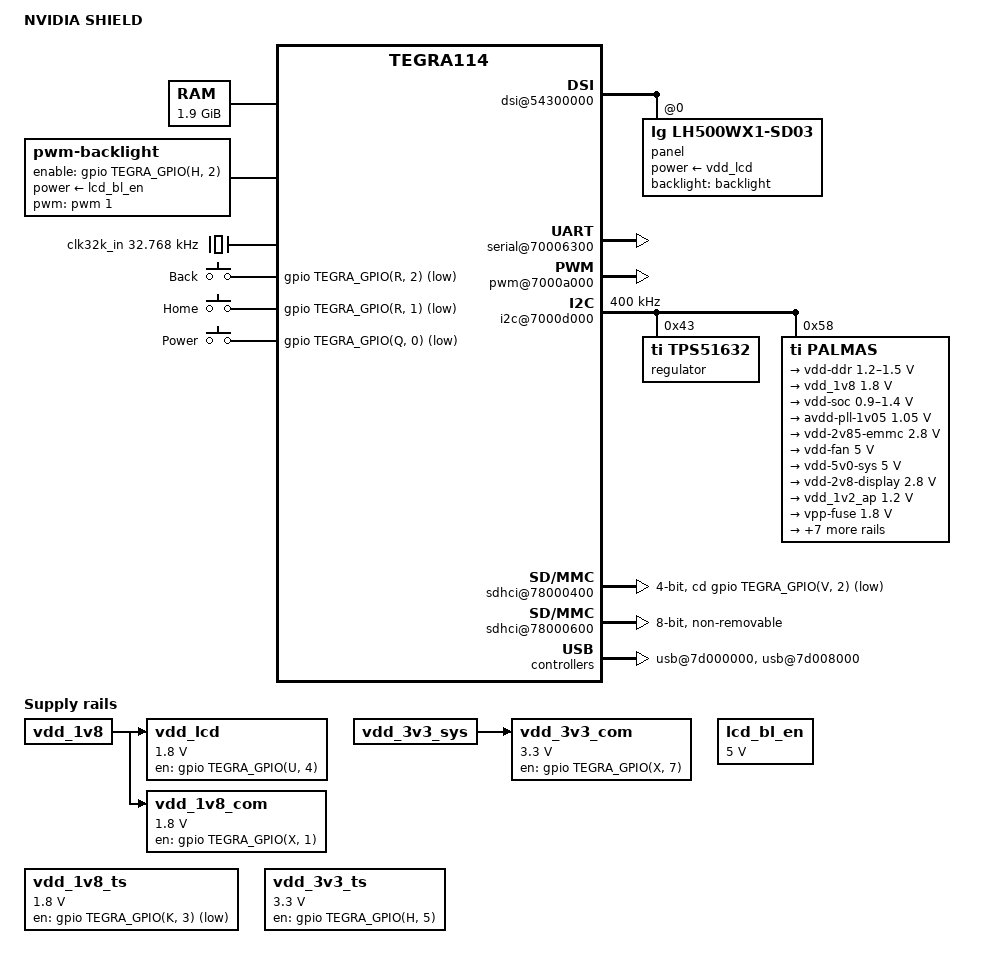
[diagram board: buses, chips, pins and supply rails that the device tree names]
/dts-v1/;

#include <dt-bindings/input/input.h>
#include "tegra114.dtsi"

/ {
	model = "NVIDIA SHIELD";
	compatible = "nvidia,roth", "nvidia,tegra114";

	chosen {
		/* SHIELD's bootloader's arguments need to be overridden */
		bootargs = "console=ttyS0,115200n8 console=tty1 gpt fbcon=rotate:1";
		/* SHIELD's bootloader will place initrd at this address */
		linux,initrd-start = <0x82000000>;
		linux,initrd-end = <0x82800000>;
	};

	aliases {
		serial0 = &uartd;
	};

	firmware {
		trusted-foundations {
			compatible = "tlm,trusted-foundations";
			tlm,version-major = <2>;
			tlm,version-minor = <8>;
		};
	};

	memory {
		/* memory >= 0x79600000 is reserved for firmware usage */
		reg = <0x80000000 0x79600000>;
	};

	host1x@50000000 {
		dsi@54300000 {
			status = "okay";

			vdd-supply = <&vdd_1v2_ap>;

			panel@0 {
				compatible = "lg,lh500wx1-sd03";
				reg = <0>;

				power-supply = <&vdd_lcd>;
				backlight = <&backlight>;
			};
		};
	};

	pinmux@70000868 {
		pinctrl-names = "default";
		pinctrl-0 = <&state_default>;

		state_default: pinmux {
			clk1_out_pw4 {
				nvidia,pins = "clk1_out_pw4";
				nvidia,function = "extperiph1";
				nvidia,pull = <TEGRA_PIN_PULL_NONE>;
				nvidia,tristate = <TEGRA_PIN_DISABLE>;
				nvidia,enable-input = <TEGRA_PIN_DISABLE>;
			};
			dap1_din_pn1 {
				nvidia,pins = "dap1_din_pn1";
				nvidia,function = "i2s0";
				nvidia,pull = <TEGRA_PIN_PULL_NONE>;
				nvidia,tristate = <TEGRA_PIN_ENABLE>;
				nvidia,enable-input = <TEGRA_PIN_ENABLE>;
			};
			dap1_dout_pn2 {
				nvidia,pins = "dap1_dout_pn2",
						"dap1_fs_pn0",
						"dap1_sclk_pn3";
				nvidia,function = "i2s0";
				nvidia,pull = <TEGRA_PIN_PULL_NONE>;
				nvidia,tristate = <TEGRA_PIN_DISABLE>;
				nvidia,enable-input = <TEGRA_PIN_ENABLE>;
			};
			dap2_din_pa4 {
				nvidia,pins = "dap2_din_pa4";
				nvidia,function = "i2s1";
				nvidia,pull = <TEGRA_PIN_PULL_NONE>;
				nvidia,tristate = <TEGRA_PIN_ENABLE>;
				nvidia,enable-input = <TEGRA_PIN_ENABLE>;
			};
			dap2_dout_pa5 {
				nvidia,pins = "dap2_dout_pa5",
						"dap2_fs_pa2",
						"dap2_sclk_pa3";
				nvidia,function = "i2s1";
				nvidia,pull = <TEGRA_PIN_PULL_NONE>;
				nvidia,tristate = <TEGRA_PIN_DISABLE>;
				nvidia,enable-input = <TEGRA_PIN_ENABLE>;
			};
			dap4_din_pp5 {
				nvidia,pins = "dap4_din_pp5",
						"dap4_dout_pp6",
						"dap4_fs_pp4",
						"dap4_sclk_pp7";
				nvidia,function = "i2s3";
				nvidia,pull = <TEGRA_PIN_PULL_NONE>;
				nvidia,tristate = <TEGRA_PIN_DISABLE>;
				nvidia,enable-input = <TEGRA_PIN_ENABLE>;
			};
			dvfs_pwm_px0 {
				nvidia,pins = "dvfs_pwm_px0",
						"dvfs_clk_px2";
				nvidia,function = "cldvfs";
				nvidia,pull = <TEGRA_PIN_PULL_NONE>;
				nvidia,tristate = <TEGRA_PIN_DISABLE>;
				nvidia,enable-input = <TEGRA_PIN_DISABLE>;
			};
			ulpi_clk_py0 {
				nvidia,pins = "ulpi_clk_py0",
						"ulpi_data0_po1",
						"ulpi_data1_po2",
						"ulpi_data2_po3",
						"ulpi_data3_po4",
						"ulpi_data4_po5",
						"ulpi_data5_po6",
						"ulpi_data6_po7",
						"ulpi_data7_po0";
				nvidia,function = "ulpi";
				nvidia,pull = <TEGRA_PIN_PULL_NONE>;
				nvidia,tristate = <TEGRA_PIN_DISABLE>;
				nvidia,enable-input = <TEGRA_PIN_ENABLE>;
			};
			ulpi_dir_py1 {
				nvidia,pins = "ulpi_dir_py1",
						"ulpi_nxt_py2";
				nvidia,function = "ulpi";
				nvidia,pull = <TEGRA_PIN_PULL_NONE>;
				nvidia,tristate = <TEGRA_PIN_ENABLE>;
				nvidia,enable-input = <TEGRA_PIN_ENABLE>;
			};
			ulpi_stp_py3 {
				nvidia,pins = "ulpi_stp_py3";
				nvidia,function = "ulpi";
				nvidia,pull = <TEGRA_PIN_PULL_NONE>;
				nvidia,tristate = <TEGRA_PIN_DISABLE>;
				nvidia,enable-input = <TEGRA_PIN_DISABLE>;
			};
			cam_i2c_scl_pbb1 {
				nvidia,pins = "cam_i2c_scl_pbb1",
						"cam_i2c_sda_pbb2";
				nvidia,function = "i2c3";
				nvidia,pull = <TEGRA_PIN_PULL_NONE>;
				nvidia,tristate = <TEGRA_PIN_DISABLE>;
				nvidia,enable-input = <TEGRA_PIN_ENABLE>;
				nvidia,lock = <TEGRA_PIN_DISABLE>;
				nvidia,open-drain = <TEGRA_PIN_DISABLE>;
			};
			cam_mclk_pcc0 {
				nvidia,pins = "cam_mclk_pcc0",
						"pbb0";
				nvidia,function = "vi_alt3";
				nvidia,pull = <TEGRA_PIN_PULL_NONE>;
				nvidia,tristate = <TEGRA_PIN_DISABLE>;
				nvidia,enable-input = <TEGRA_PIN_DISABLE>;
				nvidia,lock = <TEGRA_PIN_DISABLE>;
			};
			pbb4 {
				nvidia,pins = "pbb4";
				nvidia,function = "vgp4";
				nvidia,pull = <TEGRA_PIN_PULL_NONE>;
				nvidia,tristate = <TEGRA_PIN_DISABLE>;
				nvidia,enable-input = <TEGRA_PIN_DISABLE>;
				nvidia,lock = <TEGRA_PIN_DISABLE>;
			};
			gen2_i2c_scl_pt5 {
				nvidia,pins = "gen2_i2c_scl_pt5",
						"gen2_i2c_sda_pt6";
				nvidia,function = "i2c2";
				nvidia,pull = <TEGRA_PIN_PULL_NONE>;
				nvidia,tristate = <TEGRA_PIN_DISABLE>;
				nvidia,enable-input = <TEGRA_PIN_ENABLE>;
				nvidia,lock = <TEGRA_PIN_DISABLE>;
				nvidia,open-drain = <TEGRA_PIN_DISABLE>;
			};
			gmi_a16_pj7 {
				nvidia,pins = "gmi_a16_pj7",
						"gmi_a19_pk7";
				nvidia,function = "uartd";
				nvidia,pull = <TEGRA_PIN_PULL_NONE>;
				nvidia,tristate = <TEGRA_PIN_DISABLE>;
				nvidia,enable-input = <TEGRA_PIN_DISABLE>;
			};
			gmi_a17_pb0 {
				nvidia,pins = "gmi_a17_pb0",
						"gmi_a18_pb1";
				nvidia,function = "uartd";
				nvidia,pull = <TEGRA_PIN_PULL_NONE>;
				nvidia,tristate = <TEGRA_PIN_ENABLE>;
				nvidia,enable-input = <TEGRA_PIN_ENABLE>;
			};
			gmi_ad5_pg5 {
				nvidia,pins = "gmi_ad5_pg5",
						"gmi_wr_n_pi0";
				nvidia,function = "spi4";
				nvidia,pull = <TEGRA_PIN_PULL_NONE>;
				nvidia,tristate = <TEGRA_PIN_DISABLE>;
				nvidia,enable-input = <TEGRA_PIN_ENABLE>;
			};
			gmi_ad6_pg6 {
				nvidia,pins = "gmi_ad6_pg6",
						"gmi_ad7_pg7";
				nvidia,function = "spi4";
				nvidia,pull = <TEGRA_PIN_PULL_UP>;
				nvidia,tristate = <TEGRA_PIN_DISABLE>;
				nvidia,enable-input = <TEGRA_PIN_ENABLE>;
			};
			gmi_ad12_ph4 {
				nvidia,pins = "gmi_ad12_ph4";
				nvidia,function = "rsvd4";
				nvidia,pull = <TEGRA_PIN_PULL_NONE>;
				nvidia,tristate = <TEGRA_PIN_DISABLE>;
				nvidia,enable-input = <TEGRA_PIN_DISABLE>;
			};
			gmi_cs6_n_pi13 {
				nvidia,pins = "gmi_cs6_n_pi3";
				nvidia,function = "nand";
				nvidia,pull = <TEGRA_PIN_PULL_NONE>;
				nvidia,tristate = <TEGRA_PIN_ENABLE>;
				nvidia,enable-input = <TEGRA_PIN_DISABLE>;
			};
			gmi_ad9_ph1 {
				nvidia,pins = "gmi_ad9_ph1";
				nvidia,function = "pwm1";
				nvidia,pull = <TEGRA_PIN_PULL_NONE>;
				nvidia,tristate = <TEGRA_PIN_DISABLE>;
				nvidia,enable-input = <TEGRA_PIN_DISABLE>;
			};
			gmi_cs1_n_pj2 {
				nvidia,pins = "gmi_cs1_n_pj2",
						"gmi_oe_n_pi1";
				nvidia,function = "soc";
				nvidia,pull = <TEGRA_PIN_PULL_NONE>;
				nvidia,tristate = <TEGRA_PIN_ENABLE>;
				nvidia,enable-input = <TEGRA_PIN_ENABLE>;
			};
			gmi_rst_n_pi4 {
				nvidia,pins = "gmi_rst_n_pi4";
				nvidia,function = "gmi";
				nvidia,pull = <TEGRA_PIN_PULL_UP>;
				nvidia,tristate = <TEGRA_PIN_DISABLE>;
				nvidia,enable-input = <TEGRA_PIN_ENABLE>;
			};
			gmi_iordy_pi5 {
				nvidia,pins = "gmi_iordy_pi5";
				nvidia,function = "gmi";
				nvidia,pull = <TEGRA_PIN_PULL_NONE>;
				nvidia,tristate = <TEGRA_PIN_ENABLE>;
				nvidia,enable-input = <TEGRA_PIN_ENABLE>;
			};
			clk2_out_pw5 {
				nvidia,pins = "clk2_out_pw5";
				nvidia,function = "extperiph2";
				nvidia,pull = <TEGRA_PIN_PULL_NONE>;
				nvidia,tristate = <TEGRA_PIN_DISABLE>;
				nvidia,enable-input = <TEGRA_PIN_ENABLE>;
			};
			sdmmc1_clk_pz0 {
				nvidia,pins = "sdmmc1_clk_pz0";
				nvidia,function = "sdmmc1";
				nvidia,pull = <TEGRA_PIN_PULL_NONE>;
				nvidia,tristate = <TEGRA_PIN_DISABLE>;
				nvidia,enable-input = <TEGRA_PIN_ENABLE>;
			};
			sdmmc1_cmd_pz1 {
				nvidia,pins = "sdmmc1_cmd_pz1",
						"sdmmc1_dat0_py7",
						"sdmmc1_dat1_py6",
						"sdmmc1_dat2_py5",
						"sdmmc1_dat3_py4";
				nvidia,function = "sdmmc1";
				nvidia,pull = <TEGRA_PIN_PULL_UP>;
				nvidia,tristate = <TEGRA_PIN_DISABLE>;
				nvidia,enable-input = <TEGRA_PIN_ENABLE>;
			};
			sdmmc3_clk_pa6 {
				nvidia,pins = "sdmmc3_clk_pa6";
				nvidia,function = "sdmmc3";
				nvidia,pull = <TEGRA_PIN_PULL_NONE>;
				nvidia,tristate = <TEGRA_PIN_DISABLE>;
				nvidia,enable-input = <TEGRA_PIN_ENABLE>;
			};
			sdmmc3_cmd_pa7 {
				nvidia,pins = "sdmmc3_cmd_pa7",
						"sdmmc3_dat0_pb7",
						"sdmmc3_dat1_pb6",
						"sdmmc3_dat2_pb5",
						"sdmmc3_dat3_pb4",
						"sdmmc3_cd_n_pv2",
						"sdmmc3_clk_lb_out_pee4",
						"sdmmc3_clk_lb_in_pee5";
				nvidia,function = "sdmmc3";
				nvidia,pull = <TEGRA_PIN_PULL_UP>;
				nvidia,tristate = <TEGRA_PIN_DISABLE>;
				nvidia,enable-input = <TEGRA_PIN_ENABLE>;
			};
			kb_col4_pq4 {
				nvidia,pins = "kb_col4_pq4";
				nvidia,function = "sdmmc3";
				nvidia,pull = <TEGRA_PIN_PULL_DOWN>;
				nvidia,tristate = <TEGRA_PIN_ENABLE>;
				nvidia,enable-input = <TEGRA_PIN_ENABLE>;
			};
			sdmmc4_clk_pcc4 {
				nvidia,pins = "sdmmc4_clk_pcc4";
				nvidia,function = "sdmmc4";
				nvidia,pull = <TEGRA_PIN_PULL_NONE>;
				nvidia,tristate = <TEGRA_PIN_DISABLE>;
				nvidia,enable-input = <TEGRA_PIN_ENABLE>;
			};
			sdmmc4_cmd_pt7 {
				nvidia,pins = "sdmmc4_cmd_pt7",
						"sdmmc4_dat0_paa0",
						"sdmmc4_dat1_paa1",
						"sdmmc4_dat2_paa2",
						"sdmmc4_dat3_paa3",
						"sdmmc4_dat4_paa4",
						"sdmmc4_dat5_paa5",
						"sdmmc4_dat6_paa6",
						"sdmmc4_dat7_paa7";
				nvidia,function = "sdmmc4";
				nvidia,pull = <TEGRA_PIN_PULL_UP>;
				nvidia,tristate = <TEGRA_PIN_DISABLE>;
				nvidia,enable-input = <TEGRA_PIN_ENABLE>;
			};
			clk_32k_out_pa0 {
				nvidia,pins = "clk_32k_out_pa0";
				nvidia,function = "blink";
				nvidia,pull = <TEGRA_PIN_PULL_NONE>;
				nvidia,tristate = <TEGRA_PIN_DISABLE>;
				nvidia,enable-input = <TEGRA_PIN_DISABLE>;
			};
			kb_col0_pq0 {
				nvidia,pins = "kb_col0_pq0",
						"kb_col1_pq1",
						"kb_col2_pq2",
						"kb_row0_pr0",
						"kb_row1_pr1",
						"kb_row2_pr2",
						"kb_row8_ps0";
				nvidia,function = "kbc";
				nvidia,pull = <TEGRA_PIN_PULL_UP>;
				nvidia,tristate = <TEGRA_PIN_DISABLE>;
				nvidia,enable-input = <TEGRA_PIN_ENABLE>;
			};
			kb_row7_pr7 {
				nvidia,pins = "kb_row7_pr7";
				nvidia,function = "rsvd2";
				nvidia,pull = <TEGRA_PIN_PULL_UP>;
				nvidia,tristate = <TEGRA_PIN_DISABLE>;
				nvidia,enable-input = <TEGRA_PIN_ENABLE>;
			};
			kb_row10_ps2 {
				nvidia,pins = "kb_row10_ps2";
				nvidia,function = "uarta";
				nvidia,pull = <TEGRA_PIN_PULL_NONE>;
				nvidia,tristate = <TEGRA_PIN_ENABLE>;
				nvidia,enable-input = <TEGRA_PIN_ENABLE>;
			};
			kb_row9_ps1 {
				nvidia,pins = "kb_row9_ps1";
				nvidia,function = "uarta";
				nvidia,pull = <TEGRA_PIN_PULL_NONE>;
				nvidia,tristate = <TEGRA_PIN_DISABLE>;
				nvidia,enable-input = <TEGRA_PIN_DISABLE>;
			};
			pwr_i2c_scl_pz6 {
				nvidia,pins = "pwr_i2c_scl_pz6",
						"pwr_i2c_sda_pz7";
				nvidia,function = "i2cpwr";
				nvidia,pull = <TEGRA_PIN_PULL_NONE>;
				nvidia,tristate = <TEGRA_PIN_DISABLE>;
				nvidia,enable-input = <TEGRA_PIN_ENABLE>;
				nvidia,lock = <TEGRA_PIN_DISABLE>;
				nvidia,open-drain = <TEGRA_PIN_DISABLE>;
			};
			sys_clk_req_pz5 {
				nvidia,pins = "sys_clk_req_pz5";
				nvidia,function = "sysclk";
				nvidia,pull = <TEGRA_PIN_PULL_NONE>;
				nvidia,tristate = <TEGRA_PIN_DISABLE>;
				nvidia,enable-input = <TEGRA_PIN_DISABLE>;
			};
			core_pwr_req {
				nvidia,pins = "core_pwr_req";
				nvidia,function = "pwron";
				nvidia,pull = <TEGRA_PIN_PULL_NONE>;
				nvidia,tristate = <TEGRA_PIN_DISABLE>;
				nvidia,enable-input = <TEGRA_PIN_DISABLE>;
			};
			cpu_pwr_req {
				nvidia,pins = "cpu_pwr_req";
				nvidia,function = "cpu";
				nvidia,pull = <TEGRA_PIN_PULL_NONE>;
				nvidia,tristate = <TEGRA_PIN_DISABLE>;
				nvidia,enable-input = <TEGRA_PIN_DISABLE>;
			};
			pwr_int_n {
				nvidia,pins = "pwr_int_n";
				nvidia,function = "pmi";
				nvidia,pull = <TEGRA_PIN_PULL_NONE>;
				nvidia,tristate = <TEGRA_PIN_ENABLE>;
				nvidia,enable-input = <TEGRA_PIN_ENABLE>;
			};
			reset_out_n {
				nvidia,pins = "reset_out_n";
				nvidia,function = "reset_out_n";
				nvidia,pull = <TEGRA_PIN_PULL_NONE>;
				nvidia,tristate = <TEGRA_PIN_DISABLE>;
				nvidia,enable-input = <TEGRA_PIN_DISABLE>;
			};
			clk3_out_pee0 {
				nvidia,pins = "clk3_out_pee0";
				nvidia,function = "extperiph3";
				nvidia,pull = <TEGRA_PIN_PULL_NONE>;
				nvidia,tristate = <TEGRA_PIN_DISABLE>;
				nvidia,enable-input = <TEGRA_PIN_DISABLE>;
			};
			gen1_i2c_scl_pc4 {
				nvidia,pins = "gen1_i2c_scl_pc4",
						"gen1_i2c_sda_pc5";
				nvidia,function = "i2c1";
				nvidia,pull = <TEGRA_PIN_PULL_NONE>;
				nvidia,tristate = <TEGRA_PIN_DISABLE>;
				nvidia,enable-input = <TEGRA_PIN_ENABLE>;
				nvidia,lock = <TEGRA_PIN_DISABLE>;
				nvidia,open-drain = <TEGRA_PIN_DISABLE>;
			};
			uart2_cts_n_pj5 {
				nvidia,pins = "uart2_cts_n_pj5";
				nvidia,function = "uartb";
				nvidia,pull = <TEGRA_PIN_PULL_NONE>;
				nvidia,tristate = <TEGRA_PIN_ENABLE>;
				nvidia,enable-input = <TEGRA_PIN_ENABLE>;
			};
			uart2_rts_n_pj6 {
				nvidia,pins = "uart2_rts_n_pj6";
				nvidia,function = "uartb";
				nvidia,pull = <TEGRA_PIN_PULL_NONE>;
				nvidia,tristate = <TEGRA_PIN_DISABLE>;
				nvidia,enable-input = <TEGRA_PIN_DISABLE>;
			};
			uart2_rxd_pc3 {
				nvidia,pins = "uart2_rxd_pc3";
				nvidia,function = "irda";
				nvidia,pull = <TEGRA_PIN_PULL_NONE>;
				nvidia,tristate = <TEGRA_PIN_ENABLE>;
				nvidia,enable-input = <TEGRA_PIN_ENABLE>;
			};
			uart2_txd_pc2 {
				nvidia,pins = "uart2_txd_pc2";
				nvidia,function = "irda";
				nvidia,pull = <TEGRA_PIN_PULL_NONE>;
				nvidia,tristate = <TEGRA_PIN_DISABLE>;
				nvidia,enable-input = <TEGRA_PIN_DISABLE>;
			};
			uart3_cts_n_pa1 {
				nvidia,pins = "uart3_cts_n_pa1",
						"uart3_rxd_pw7";
				nvidia,function = "uartc";
				nvidia,pull = <TEGRA_PIN_PULL_NONE>;
				nvidia,tristate = <TEGRA_PIN_ENABLE>;
				nvidia,enable-input = <TEGRA_PIN_ENABLE>;
			};
			uart3_rts_n_pc0 {
				nvidia,pins = "uart3_rts_n_pc0",
						"uart3_txd_pw6";
				nvidia,function = "uartc";
				nvidia,pull = <TEGRA_PIN_PULL_NONE>;
				nvidia,tristate = <TEGRA_PIN_DISABLE>;
				nvidia,enable-input = <TEGRA_PIN_DISABLE>;
			};
			owr {
				nvidia,pins = "owr";
				nvidia,function = "owr";
				nvidia,pull = <TEGRA_PIN_PULL_NONE>;
				nvidia,tristate = <TEGRA_PIN_DISABLE>;
				nvidia,enable-input = <TEGRA_PIN_ENABLE>;
			};
			hdmi_cec_pee3 {
				nvidia,pins = "hdmi_cec_pee3";
				nvidia,function = "cec";
				nvidia,pull = <TEGRA_PIN_PULL_NONE>;
				nvidia,tristate = <TEGRA_PIN_DISABLE>;
				nvidia,enable-input = <TEGRA_PIN_ENABLE>;
				nvidia,lock = <TEGRA_PIN_DISABLE>;
				nvidia,open-drain = <TEGRA_PIN_DISABLE>;
			};
			ddc_scl_pv4 {
				nvidia,pins = "ddc_scl_pv4",
						"ddc_sda_pv5";
				nvidia,function = "i2c4";
				nvidia,pull = <TEGRA_PIN_PULL_NONE>;
				nvidia,tristate = <TEGRA_PIN_DISABLE>;
				nvidia,enable-input = <TEGRA_PIN_ENABLE>;
				nvidia,lock = <TEGRA_PIN_DISABLE>;
				nvidia,rcv-sel = <TEGRA_PIN_ENABLE>;
			};
			spdif_in_pk6 {
				nvidia,pins = "spdif_in_pk6";
				nvidia,function = "usb";
				nvidia,pull = <TEGRA_PIN_PULL_UP>;
				nvidia,tristate = <TEGRA_PIN_DISABLE>;
				nvidia,enable-input = <TEGRA_PIN_ENABLE>;
				nvidia,lock = <TEGRA_PIN_DISABLE>;
			};
			usb_vbus_en0_pn4 {
				nvidia,pins = "usb_vbus_en0_pn4";
				nvidia,function = "usb";
				nvidia,pull = <TEGRA_PIN_PULL_UP>;
				nvidia,tristate = <TEGRA_PIN_DISABLE>;
				nvidia,enable-input = <TEGRA_PIN_ENABLE>;
				nvidia,lock = <TEGRA_PIN_DISABLE>;
				nvidia,open-drain = <TEGRA_PIN_ENABLE>;
			};
			gpio_x6_aud_px6 {
				nvidia,pins = "gpio_x6_aud_px6";
				nvidia,function = "spi6";
				nvidia,pull = <TEGRA_PIN_PULL_UP>;
				nvidia,tristate = <TEGRA_PIN_ENABLE>;
				nvidia,enable-input = <TEGRA_PIN_ENABLE>;
			};
			gpio_x1_aud_px1 {
				nvidia,pins = "gpio_x1_aud_px1";
				nvidia,function = "rsvd2";
				nvidia,pull = <TEGRA_PIN_PULL_DOWN>;
				nvidia,tristate = <TEGRA_PIN_DISABLE>;
				nvidia,enable-input = <TEGRA_PIN_ENABLE>;
			};
			gpio_x7_aud_px7 {
				nvidia,pins = "gpio_x7_aud_px7";
				nvidia,function = "rsvd1";
				nvidia,pull = <TEGRA_PIN_PULL_DOWN>;
				nvidia,tristate = <TEGRA_PIN_DISABLE>;
				nvidia,enable-input = <TEGRA_PIN_ENABLE>;
			};
			gmi_adv_n_pk0 {
				nvidia,pins = "gmi_adv_n_pk0";
				nvidia,function = "gmi";
				nvidia,pull = <TEGRA_PIN_PULL_NONE>;
				nvidia,tristate = <TEGRA_PIN_ENABLE>;
				nvidia,enable-input = <TEGRA_PIN_ENABLE>;
			};
			gmi_cs0_n_pj0 {
				nvidia,pins = "gmi_cs0_n_pj0";
				nvidia,function = "gmi";
				nvidia,pull = <TEGRA_PIN_PULL_UP>;
				nvidia,tristate = <TEGRA_PIN_DISABLE>;
				nvidia,enable-input = <TEGRA_PIN_ENABLE>;
			};
			pu3 {
				nvidia,pins = "pu3";
				nvidia,function = "pwm0";
				nvidia,pull = <TEGRA_PIN_PULL_NONE>;
				nvidia,tristate = <TEGRA_PIN_DISABLE>;
				nvidia,enable-input = <TEGRA_PIN_DISABLE>;
			};
			gpio_x4_aud_px4 {
				nvidia,pins = "gpio_x4_aud_px4",
						"gpio_x5_aud_px5";
				nvidia,function = "rsvd1";
				nvidia,pull = <TEGRA_PIN_PULL_UP>;
				nvidia,tristate = <TEGRA_PIN_DISABLE>;
				nvidia,enable-input = <TEGRA_PIN_ENABLE>;
			};
			gpio_x3_aud_px3 {
				nvidia,pins = "gpio_x3_aud_px3";
				nvidia,function = "rsvd4";
				nvidia,pull = <TEGRA_PIN_PULL_UP>;
				nvidia,tristate = <TEGRA_PIN_DISABLE>;
				nvidia,enable-input = <TEGRA_PIN_ENABLE>;
			};
			gpio_w2_aud_pw2 {
				nvidia,pins = "gpio_w2_aud_pw2";
				nvidia,function = "rsvd2";
				nvidia,pull = <TEGRA_PIN_PULL_UP>;
				nvidia,tristate = <TEGRA_PIN_DISABLE>;
				nvidia,enable-input = <TEGRA_PIN_ENABLE>;
			};
			gpio_w3_aud_pw3 {
				nvidia,pins = "gpio_w3_aud_pw3";
				nvidia,function = "spi6";
				nvidia,pull = <TEGRA_PIN_PULL_UP>;
				nvidia,tristate = <TEGRA_PIN_DISABLE>;
				nvidia,enable-input = <TEGRA_PIN_ENABLE>;
			};
			dap3_fs_pp0 {
				nvidia,pins = "dap3_fs_pp0",
						"dap3_din_pp1",
						"dap3_dout_pp2",
						"dap3_sclk_pp3";
				nvidia,function = "i2s2";
				nvidia,pull = <TEGRA_PIN_PULL_DOWN>;
				nvidia,tristate = <TEGRA_PIN_DISABLE>;
				nvidia,enable-input = <TEGRA_PIN_DISABLE>;
			};
			pv0 {
				nvidia,pins = "pv0";
				nvidia,function = "rsvd4";
				nvidia,pull = <TEGRA_PIN_PULL_NONE>;
				nvidia,tristate = <TEGRA_PIN_DISABLE>;
				nvidia,enable-input = <TEGRA_PIN_ENABLE>;
			};
			pv1 {
				nvidia,pins = "pv1";
				nvidia,function = "rsvd1";
				nvidia,pull = <TEGRA_PIN_PULL_NONE>;
				nvidia,tristate = <TEGRA_PIN_DISABLE>;
				nvidia,enable-input = <TEGRA_PIN_ENABLE>;
			};
			pbb3 {
				nvidia,pins = "pbb3",
						"pbb5",
						"pbb6",
						"pbb7";
				nvidia,function = "rsvd4";
				nvidia,pull = <TEGRA_PIN_PULL_DOWN>;
				nvidia,tristate = <TEGRA_PIN_DISABLE>;
				nvidia,enable-input = <TEGRA_PIN_DISABLE>;
			};
			pcc1 {
				nvidia,pins = "pcc1",
						"pcc2";
				nvidia,function = "rsvd4";
				nvidia,pull = <TEGRA_PIN_PULL_DOWN>;
				nvidia,tristate = <TEGRA_PIN_DISABLE>;
				nvidia,enable-input = <TEGRA_PIN_ENABLE>;
			};
			gmi_ad0_pg0 {
				nvidia,pins = "gmi_ad0_pg0",
						"gmi_ad1_pg1";
				nvidia,function = "gmi";
				nvidia,pull = <TEGRA_PIN_PULL_NONE>;
				nvidia,tristate = <TEGRA_PIN_DISABLE>;
				nvidia,enable-input = <TEGRA_PIN_DISABLE>;
			};
			gmi_ad10_ph2 {
				nvidia,pins = "gmi_ad10_ph2",
						"gmi_ad12_ph4",
						"gmi_ad15_ph7",
						"gmi_cs3_n_pk4";
				nvidia,function = "gmi";
				nvidia,pull = <TEGRA_PIN_PULL_UP>;
				nvidia,tristate = <TEGRA_PIN_DISABLE>;
				nvidia,enable-input = <TEGRA_PIN_DISABLE>;
			};
			gmi_ad11_ph3 {
				nvidia,pins = "gmi_ad11_ph3",
						"gmi_ad13_ph5",
						"gmi_ad8_ph0",
						"gmi_clk_pk1",
						"gmi_cs2_n_pk3";
				nvidia,function = "gmi";
				nvidia,pull = <TEGRA_PIN_PULL_DOWN>;
				nvidia,tristate = <TEGRA_PIN_DISABLE>;
				nvidia,enable-input = <TEGRA_PIN_DISABLE>;
			};
			gmi_ad14_ph6 {
				nvidia,pins = "gmi_ad14_ph6",
						"gmi_cs0_n_pj0",
						"gmi_cs4_n_pk2",
						"gmi_cs7_n_pi6",
						"gmi_dqs_p_pj3",
						"gmi_wp_n_pc7";
				nvidia,function = "gmi";
				nvidia,pull = <TEGRA_PIN_PULL_UP>;
				nvidia,tristate = <TEGRA_PIN_DISABLE>;
				nvidia,enable-input = <TEGRA_PIN_ENABLE>;
			};
			gmi_ad2_pg2 {
				nvidia,pins = "gmi_ad2_pg2",
						"gmi_ad3_pg3";
				nvidia,function = "gmi";
				nvidia,pull = <TEGRA_PIN_PULL_NONE>;
				nvidia,tristate = <TEGRA_PIN_DISABLE>;
				nvidia,enable-input = <TEGRA_PIN_ENABLE>;
			};
			sdmmc1_wp_n_pv3 {
				nvidia,pins = "sdmmc1_wp_n_pv3";
				nvidia,function = "spi4";
				nvidia,pull = <TEGRA_PIN_PULL_UP>;
				nvidia,tristate = <TEGRA_PIN_DISABLE>;
				nvidia,enable-input = <TEGRA_PIN_DISABLE>;
			};
			clk2_req_pcc5 {
				nvidia,pins = "clk2_req_pcc5";
				nvidia,function = "rsvd4";
				nvidia,pull = <TEGRA_PIN_PULL_NONE>;
				nvidia,tristate = <TEGRA_PIN_DISABLE>;
				nvidia,enable-input = <TEGRA_PIN_DISABLE>;
			};
			kb_col3_pq3 {
				nvidia,pins = "kb_col3_pq3";
				nvidia,function = "pwm2";
				nvidia,pull = <TEGRA_PIN_PULL_NONE>;
				nvidia,tristate = <TEGRA_PIN_DISABLE>;
				nvidia,enable-input = <TEGRA_PIN_DISABLE>;
			};
			kb_col5_pq5 {
				nvidia,pins = "kb_col5_pq5";
				nvidia,function = "kbc";
				nvidia,pull = <TEGRA_PIN_PULL_UP>;
				nvidia,tristate = <TEGRA_PIN_DISABLE>;
				nvidia,enable-input = <TEGRA_PIN_ENABLE>;
			};
			kb_col6_pq6 {
				nvidia,pins = "kb_col6_pq6",
						"kb_col7_pq7";
				nvidia,function = "kbc";
				nvidia,pull = <TEGRA_PIN_PULL_UP>;
				nvidia,tristate = <TEGRA_PIN_DISABLE>;
				nvidia,enable-input = <TEGRA_PIN_DISABLE>;
			};
			kb_row3_pr3 {
				nvidia,pins = "kb_row3_pr3",
						"kb_row4_pr4",
						"kb_row6_pr6";
				nvidia,function = "kbc";
				nvidia,pull = <TEGRA_PIN_PULL_DOWN>;
				nvidia,tristate = <TEGRA_PIN_DISABLE>;
				nvidia,enable-input = <TEGRA_PIN_ENABLE>;
			};
			clk3_req_pee1 {
				nvidia,pins = "clk3_req_pee1";
				nvidia,function = "rsvd4";
				nvidia,pull = <TEGRA_PIN_PULL_NONE>;
				nvidia,tristate = <TEGRA_PIN_DISABLE>;
				nvidia,enable-input = <TEGRA_PIN_DISABLE>;
			};
			pu2 {
				nvidia,pins = "pu2";
				nvidia,function = "rsvd1";
				nvidia,pull = <TEGRA_PIN_PULL_UP>;
				nvidia,tristate = <TEGRA_PIN_DISABLE>;
				nvidia,enable-input = <TEGRA_PIN_ENABLE>;
			};
			hdmi_int_pn7 {
				nvidia,pins = "hdmi_int_pn7";
				nvidia,function = "rsvd1";
				nvidia,pull = <TEGRA_PIN_PULL_DOWN>;
				nvidia,tristate = <TEGRA_PIN_DISABLE>;
				nvidia,enable-input = <TEGRA_PIN_ENABLE>;
			};

			drive_sdio1 {
				nvidia,pins = "drive_sdio1";
				nvidia,high-speed-mode = <TEGRA_PIN_ENABLE>;
				nvidia,schmitt = <TEGRA_PIN_DISABLE>;
				nvidia,pull-down-strength = <36>;
				nvidia,pull-up-strength = <20>;
				nvidia,slew-rate-rising = <TEGRA_PIN_SLEW_RATE_SLOW>;
				nvidia,slew-rate-falling = <TEGRA_PIN_SLEW_RATE_SLOW>;
			};
			drive_sdio3 {
				nvidia,pins = "drive_sdio3";
				nvidia,high-speed-mode = <TEGRA_PIN_ENABLE>;
				nvidia,schmitt = <TEGRA_PIN_DISABLE>;
				nvidia,pull-down-strength = <36>;
				nvidia,pull-up-strength = <20>;
				nvidia,slew-rate-rising = <TEGRA_PIN_SLEW_RATE_FASTEST>;
				nvidia,slew-rate-falling = <TEGRA_PIN_SLEW_RATE_FASTEST>;
			};
			drive_gma {
				nvidia,pins = "drive_gma";
				nvidia,high-speed-mode = <TEGRA_PIN_ENABLE>;
				nvidia,schmitt = <TEGRA_PIN_DISABLE>;
				nvidia,pull-down-strength = <2>;
				nvidia,pull-up-strength = <2>;
				nvidia,slew-rate-rising = <TEGRA_PIN_SLEW_RATE_FASTEST>;
				nvidia,slew-rate-falling = <TEGRA_PIN_SLEW_RATE_FASTEST>;
			};
		};
	};

	/* Usable on reworked devices only */
	serial@70006300 {
		status = "okay";
	};

	pwm@7000a000 {
		status = "okay";
	};

	i2c@7000d000 {
		status = "okay";
		clock-frequency = <400000>;

		regulator@43 {
			compatible = "ti,tps51632";
			reg = <0x43>;
			regulator-name = "vdd-cpu";
			regulator-min-microvolt = <500000>;
			regulator-max-microvolt = <1520000>;
			regulator-always-on;
			regulator-boot-on;
		};

		palmas: pmic@58 {
			compatible = "ti,palmas";
			reg = <0x58>;
			interrupts = <GIC_SPI 86 IRQ_TYPE_LEVEL_LOW>;

			#interrupt-cells = <2>;
			interrupt-controller;

			ti,system-power-controller;

			palmas_gpio: gpio {
				compatible = "ti,palmas-gpio";
				gpio-controller;
				#gpio-cells = <2>;
			};

			pmic {
				compatible = "ti,tps65913-pmic", "ti,palmas-pmic";

				regulators {
					smps12 {
						regulator-name = "vdd-ddr";
						regulator-min-microvolt = <1200000>;
						regulator-max-microvolt = <1500000>;
						regulator-always-on;
						regulator-boot-on;
					};

					vdd_1v8: smps3 {
						regulator-name = "vdd-1v8";
						regulator-min-microvolt = <1800000>;
						regulator-max-microvolt = <1800000>;
						regulator-boot-on;
					};

					smps457 {
						regulator-name = "vdd-soc";
						regulator-min-microvolt = <900000>;
						regulator-max-microvolt = <1400000>;
						regulator-always-on;
						regulator-boot-on;
					};

					smps8 {
						regulator-name = "avdd-pll-1v05";
						regulator-min-microvolt = <1050000>;
						regulator-max-microvolt = <1050000>;
						regulator-always-on;
						regulator-boot-on;
					};

					smps9 {
						regulator-name = "vdd-2v85-emmc";
						regulator-min-microvolt = <2800000>;
						regulator-max-microvolt = <2800000>;
						regulator-always-on;
					};

					smps10_out1 {
						regulator-name = "vdd-fan";
						regulator-min-microvolt = <5000000>;
						regulator-max-microvolt = <5000000>;
						regulator-always-on;
						regulator-boot-on;
					};

					smps10_out2 {
						regulator-name = "vdd-5v0-sys";
						regulator-min-microvolt = <5000000>;
						regulator-max-microvolt = <5000000>;
						regulator-always-on;
						regulator-boot-on;
					};

					ldo2 {
						regulator-name = "vdd-2v8-display";
						regulator-min-microvolt = <2800000>;
						regulator-max-microvolt = <2800000>;
						regulator-always-on;
						regulator-boot-on;
					};

					vdd_1v2_ap: ldo3 {
						regulator-name = "avdd-1v2";
						regulator-min-microvolt = <1200000>;
						regulator-max-microvolt = <1200000>;
						regulator-always-on;
						regulator-boot-on;
					};

					ldo4 {
						regulator-name = "vpp-fuse";
						regulator-min-microvolt = <1800000>;
						regulator-max-microvolt = <1800000>;
					};

					ldo5 {
						regulator-name = "avdd-hdmi-pll";
						regulator-min-microvolt = <1200000>;
						regulator-max-microvolt = <1200000>;
					};

					ldo6 {
						regulator-name = "vdd-sensor-2v8";
						regulator-min-microvolt = <2850000>;
						regulator-max-microvolt = <2850000>;
					};

					ldo8 {
						regulator-name = "vdd-rtc";
						regulator-min-microvolt = <1100000>;
						regulator-max-microvolt = <1100000>;
						regulator-always-on;
						regulator-boot-on;
						ti,enable-ldo8-tracking;
					};

					vddio_sdmmc3: ldo9 {
						regulator-name = "vddio-sdmmc3";
						regulator-min-microvolt = <1800000>;
						regulator-max-microvolt = <3300000>;
					};

					ldousb {
						regulator-name = "avdd-usb-hdmi";
						regulator-min-microvolt = <3300000>;
						regulator-max-microvolt = <3300000>;
						regulator-always-on;
						regulator-boot-on;
					};

					vdd_3v3_sys: regen1 {
						regulator-name = "rail-3v3";
						regulator-max-microvolt = <3300000>;
						regulator-always-on;
						regulator-boot-on;
					};

					regen2 {
						regulator-name = "rail-5v0";
						regulator-max-microvolt = <5000000>;
						regulator-always-on;
						regulator-boot-on;
					};

				};
			};

			rtc {
				compatible = "ti,palmas-rtc";
				interrupt-parent = <&palmas>;
				interrupts = <8 0>;
			};

		};
	};

	pmc@7000e400 {
		nvidia,invert-interrupt;
	};

	/* SD card */
	sdhci@78000400 {
		status = "okay";
		bus-width = <4>;
		vqmmc-supply = <&vddio_sdmmc3>;
		cd-gpios = <&gpio TEGRA_GPIO(V, 2) GPIO_ACTIVE_LOW>;
		power-gpios = <&gpio TEGRA_GPIO(H, 0) GPIO_ACTIVE_HIGH>;
	};

	/* eMMC */
	sdhci@78000600 {
		status = "okay";
		bus-width = <8>;
		non-removable;
	};

	/* External USB port (must be powered) */
	usb@7d000000 {
		status = "okay";
	};

	usb-phy@7d000000 {
		status = "okay";
		nvidia,xcvr-setup = <7>;
		nvidia,xcvr-lsfslew = <2>;
		nvidia,xcvr-lsrslew = <2>;
		interrupts = <GIC_SPI 20 IRQ_TYPE_LEVEL_HIGH>;
		/* Should be changed to "otg" once we have vbus_supply */
		/* As of now, USB devices need to be powered externally */
		dr_mode = "host";
	};

	/* SHIELD controller */
	usb@7d008000 {
		status = "okay";
	};

	usb-phy@7d008000 {
		status = "okay";
		nvidia,xcvr-setup = <7>;
		nvidia,xcvr-lsfslew = <2>;
		nvidia,xcvr-lsrslew = <2>;
	};

	backlight: backlight {
		compatible = "pwm-backlight";
		pwms = <&pwm 1 40000>;

		brightness-levels = <0 4 8 16 32 64 128 255>;
		default-brightness-level = <6>;

		power-supply = <&lcd_bl_en>;
		enable-gpios = <&gpio TEGRA_GPIO(H, 2) GPIO_ACTIVE_HIGH>;
	};

	clocks {
		compatible = "simple-bus";
		#address-cells = <1>;
		#size-cells = <0>;

		clk32k_in: clock@0 {
			compatible = "fixed-clock";
			reg = <0>;
			#clock-cells = <0>;
			clock-frequency = <32768>;
		};
	};

	gpio-keys {
		compatible = "gpio-keys";

		back {
			label = "Back";
			gpios = <&gpio TEGRA_GPIO(R, 2) GPIO_ACTIVE_LOW>;
			linux,code = <KEY_BACK>;
		};

		home {
			label = "Home";
			gpios = <&gpio TEGRA_GPIO(R, 1) GPIO_ACTIVE_LOW>;
			linux,code = <KEY_HOME>;
		};

		power {
			label = "Power";
			gpios = <&gpio TEGRA_GPIO(Q, 0) GPIO_ACTIVE_LOW>;
			linux,code = <KEY_POWER>;
			wakeup-source;
		};
	};

	regulators {
		compatible = "simple-bus";
		#address-cells = <1>;
		#size-cells = <0>;

		lcd_bl_en: regulator@0 {
			compatible = "regulator-fixed";
			reg = <0>;
			regulator-name = "lcd_bl_en";
			regulator-min-microvolt = <5000000>;
			regulator-max-microvolt = <5000000>;
			regulator-boot-on;
		};

		vdd_lcd: regulator@1 {
			compatible = "regulator-fixed";
			reg = <1>;
			regulator-name = "vdd_lcd_1v8";
			regulator-min-microvolt = <1800000>;
			regulator-max-microvolt = <1800000>;
			vin-supply = <&vdd_1v8>;
			enable-active-high;
			gpio = <&gpio TEGRA_GPIO(U, 4) GPIO_ACTIVE_HIGH>;
			regulator-boot-on;
		};

		regulator@2 {
			compatible = "regulator-fixed";
			reg = <2>;
			regulator-name = "vdd_1v8_ts";
			regulator-min-microvolt = <1800000>;
			regulator-max-microvolt = <1800000>;
			gpio = <&gpio TEGRA_GPIO(K, 3) GPIO_ACTIVE_LOW>;
			regulator-boot-on;
		};

		regulator@3 {
			compatible = "regulator-fixed";
			reg = <3>;
			regulator-name = "vdd_3v3_ts";
			regulator-min-microvolt = <3300000>;
			regulator-max-microvolt = <3300000>;
			enable-active-high;
			gpio = <&gpio TEGRA_GPIO(H, 5) GPIO_ACTIVE_HIGH>;
			regulator-boot-on;
		};

		regulator@4 {
			compatible = "regulator-fixed";
			reg = <4>;
			regulator-name = "vdd_1v8_com";
			regulator-min-microvolt = <1800000>;
			regulator-max-microvolt = <1800000>;
			vin-supply = <&vdd_1v8>;
			enable-active-high;
			gpio = <&gpio TEGRA_GPIO(X, 1) GPIO_ACTIVE_HIGH>;
			regulator-boot-on;
		};

		regulator@5 {
			compatible = "regulator-fixed";
			reg = <5>;
			regulator-name = "vdd_3v3_com";
			regulator-min-microvolt = <3300000>;
			regulator-max-microvolt = <3300000>;
			vin-supply = <&vdd_3v3_sys>;
			enable-active-high;
			gpio = <&gpio TEGRA_GPIO(X, 7) GPIO_ACTIVE_HIGH>;
			regulator-always-on;
			regulator-boot-on;
		};
	};
};
